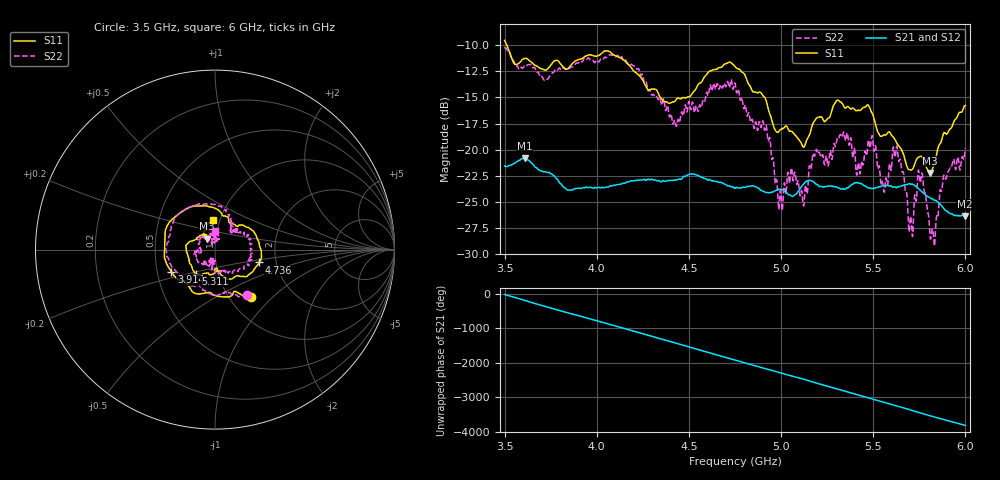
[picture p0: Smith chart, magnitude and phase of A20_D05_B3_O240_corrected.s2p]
! Created with skrf 1.9.0 (http://scikit-rf.org).
# Hz S RI R 50.0
!freq ReS11 ImS11 ReS21 ImS21 ReS12 ImS12 ReS22 ImS22
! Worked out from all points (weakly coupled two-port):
!   1601 points, 3.5 GHz to 6 GHz, reference 50 ohm
!   highest |S21| = -20.83 dB at 3.609 GHz (marker M1); lowest = -26.4 dB at 5.995 GHz (marker M2)
!   lowest |S11| = -22.2 dB at 5.809 GHz (marker M3), VSWR 1.17, Z = 45.2 + j5.59 ohm
!   |S11| at or under -10 dB: 3.513 GHz to end of sweep
!   |S22| runs from -29.3 to -10.2 dB; largest |S21 - S12| = 0.001
!   S11 on the Smith chart (normalised r, x): 3.5 GHz: 1.26, -0.75; 3.914 GHz: 0.59, -0.16; 4.736 GHz: 1.63, -0.25; 5.311 GHz: 0.78, -0.22; 6 GHz: 0.93, +0.31
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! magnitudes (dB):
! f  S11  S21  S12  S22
! 3.5 GHz  -9.5  -21.6  -21.5  -10.2
! 3.609 GHz  -11.2  -20.8  -20.8  -11.9
! 3.914 GHz  -11.3  -23.7  -23.7  -11.5
! 3.917 GHz  -11.3  -23.7  -23.7  -11.6
! 4.144 GHz  -11.4  -23.2  -23.2  -11.4
! 4.334 GHz  -14.6  -23.0  -22.9  -15.2
! 4.425 GHz  -15.3  -22.9  -22.9  -17.3
! 4.736 GHz  -11.8  -23.5  -23.6  -13.9
! 4.75 GHz  -12.0  -23.7  -23.6  -13.6
! 4.912 GHz  -15.0  -24.1  -24.0  -18.1
! 4.997 GHz  -18.1  -23.8  -23.8  -23.9
! 5.064 GHz  -18.4  -24.5  -24.5  -22.9
! 5.13 GHz  -19.6  -23.2  -23.2  -23.9
! 5.167 GHz  -17.8  -23.0  -23.0  -21.2
! 5.311 GHz  -15.3  -23.7  -23.6  -18.9
! 5.584 GHz  -18.3  -23.5  -23.4  -22.1
! 5.636 GHz  -19.6  -23.5  -23.5  -20.8
! 5.705 GHz  -22.0  -23.3  -23.3  -26.6
! 5.756 GHz  -20.6  -23.9  -23.9  -23.2
! 5.809 GHz  -22.2  -24.7  -24.6  -28.6
! 5.995 GHz  -15.8  -26.4  -26.3  -20.5
! 6 GHz  -15.8  -26.4  -26.3  -19.9
